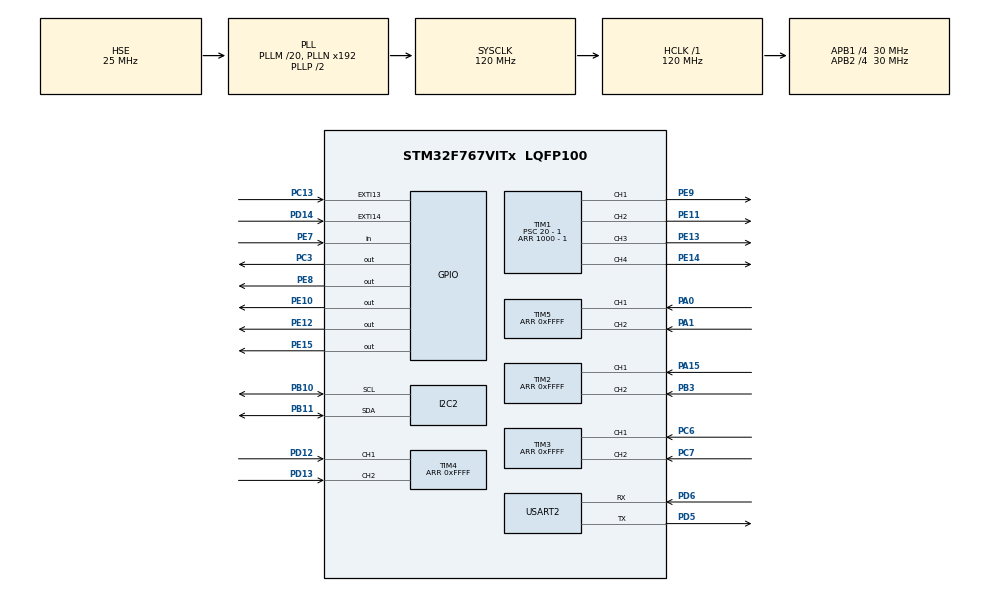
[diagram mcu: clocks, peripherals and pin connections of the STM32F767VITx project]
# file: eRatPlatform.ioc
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Dma.I2C2_RX.1.Direction=DMA_PERIPH_TO_MEMORY
Dma.I2C2_RX.1.FIFOMode=DMA_FIFOMODE_DISABLE
Dma.I2C2_RX.1.Instance=DMA1_Stream2
Dma.I2C2_RX.1.MemDataAlignment=DMA_MDATAALIGN_BYTE
Dma.I2C2_RX.1.MemInc=DMA_MINC_ENABLE
Dma.I2C2_RX.1.Mode=DMA_NORMAL
Dma.I2C2_RX.1.PeriphDataAlignment=DMA_PDATAALIGN_BYTE
Dma.I2C2_RX.1.PeriphInc=DMA_PINC_DISABLE
Dma.I2C2_RX.1.Priority=DMA_PRIORITY_MEDIUM
Dma.I2C2_TX.0.Direction=DMA_MEMORY_TO_PERIPH
Dma.I2C2_TX.0.FIFOMode=DMA_FIFOMODE_DISABLE
Dma.I2C2_TX.0.Instance=DMA1_Stream4
Dma.I2C2_TX.0.MemDataAlignment=DMA_MDATAALIGN_BYTE
Dma.I2C2_TX.0.MemInc=DMA_MINC_ENABLE
Dma.I2C2_TX.0.Mode=DMA_NORMAL
Dma.I2C2_TX.0.PeriphDataAlignment=DMA_PDATAALIGN_BYTE
Dma.I2C2_TX.0.PeriphInc=DMA_PINC_DISABLE
Dma.I2C2_TX.0.Priority=DMA_PRIORITY_HIGH
Dma.Request0=I2C2_TX
Dma.Request1=I2C2_RX
FREERTOS.Tasks01=defaultTask,0,128,StartDefaultTask,Default,NULL
I2C2.Timing=0x007074AF
Mcu.Family=STM32F7
Mcu.Name=STM32F767VITx
Mcu.Package=LQFP100
NVIC.DMA1_Stream2_IRQn=true\:5\:0\:false\:false\:true\:true\:false
NVIC.DMA1_Stream4_IRQn=true\:5\:0\:false\:false\:true\:true\:false
NVIC.EXTI15_10_IRQn=true\:0\:0\:false\:false\:true\:false\:true
NVIC.I2C2_ER_IRQn=true\:5\:0\:false\:false\:true\:true\:true
NVIC.I2C2_EV_IRQn=true\:5\:0\:false\:false\:true\:true\:true
NVIC.PriorityGroup=NVIC_PRIORITYGROUP_4
NVIC.TIM8_TRG_COM_TIM14_IRQn=true\:0\:0\:false\:false\:true\:false\:false
NVIC.TimeBase=TIM8_TRG_COM_TIM14_IRQn
NVIC.TimeBaseIP=TIM14
NVIC.USART2_IRQn=true\:5\:0\:false\:false\:true\:true\:true
PA0/WKUP.Signal=S_TIM5_CH1
PA1.Signal=S_TIM5_CH2
PA13.Mode=Serial_Wire
PA13.Signal=SYS_JTMS-SWDIO
PA14.Mode=Serial_Wire
PA14.Signal=SYS_JTCK-SWCLK
PA15.Signal=S_TIM2_CH1_ETR
PB10.Mode=I2C
PB10.Signal=I2C2_SCL
PB11.Mode=I2C
PB11.Signal=I2C2_SDA
PB3.Signal=S_TIM2_CH2
PC13.GPIO_ModeDefaultEXTI=GPIO_MODE_IT_RISING
PC13.Signal=GPXTI13
PC14/OSC32_IN.Mode=LSE-External-Oscillator
PC14/OSC32_IN.Signal=RCC_OSC32_IN
PC15/OSC32_OUT.Mode=LSE-External-Oscillator
PC15/OSC32_OUT.Signal=RCC_OSC32_OUT
PC3.Signal=GPIO_Output
PC6.Signal=S_TIM3_CH1
PC7.Signal=S_TIM3_CH2
PD12.Signal=S_TIM4_CH1
PD13.Signal=S_TIM4_CH2
PD14.Signal=GPXTI14
PD5.Mode=Asynchronous
PD5.Signal=USART2_TX
PD6.Mode=Asynchronous
PD6.Signal=USART2_RX
PE10.Signal=GPIO_Output
PE11.Signal=S_TIM1_CH2
PE12.Signal=GPIO_Output
PE13.Signal=S_TIM1_CH3
PE14.Signal=S_TIM1_CH4
PE15.Signal=GPIO_Output
PE7.Signal=GPIO_Input
PE8.Signal=GPIO_Output
PE9.Signal=S_TIM1_CH1
PH0/OSC_IN.Mode=HSE-External-Oscillator
PH0/OSC_IN.Signal=RCC_OSC_IN
PH1/OSC_OUT.Mode=HSE-External-Oscillator
PH1/OSC_OUT.Signal=RCC_OSC_OUT
ProjectManager.HeapSize=0x200
ProjectManager.StackSize=0x400
ProjectManager.TargetToolchain=SW4STM32
RCC.AHBFreq_Value=120000000
RCC.APB1CLKDivider=RCC_HCLK_DIV4
RCC.APB1Freq_Value=30000000
RCC.APB1TimFreq_Value=60000000
RCC.APB2CLKDivider=RCC_HCLK_DIV4
RCC.APB2Freq_Value=30000000
RCC.APB2TimFreq_Value=60000000
RCC.CortexFreq_Value=120000000
RCC.HCLKFreq_Value=120000000
RCC.HSE_VALUE=25000000
RCC.HSI_VALUE=16000000
RCC.PLLM=20
RCC.PLLQ=5
RCC.PLLSourceVirtual=RCC_PLLSOURCE_HSE
RCC.SYSCLKFreq_VALUE=120000000
RCC.SYSCLKSource=RCC_SYSCLKSOURCE_PLLCLK
RCC.USART2CLockSelection=RCC_USART2CLKSOURCE_SYSCLK
RCC.USBFreq_Value=48000000
RCC.VCOOutputFreq_Value=240000000
SH.S_TIM1_CH1.0=TIM1_CH1,PWM Generation1 CH1
SH.S_TIM1_CH2.0=TIM1_CH2,PWM Generation2 CH2
SH.S_TIM1_CH3.0=TIM1_CH3,PWM Generation3 CH3
SH.S_TIM1_CH4.0=TIM1_CH4,PWM Generation4 CH4
SH.S_TIM2_CH1_ETR.0=TIM2_CH1,Encoder_Interface
SH.S_TIM2_CH2.0=TIM2_CH2,Encoder_Interface
SH.S_TIM3_CH1.0=TIM3_CH1,Encoder_Interface
SH.S_TIM3_CH2.0=TIM3_CH2,Encoder_Interface
SH.S_TIM4_CH1.0=TIM4_CH1,Encoder_Interface
SH.S_TIM4_CH2.0=TIM4_CH2,Encoder_Interface
SH.S_TIM5_CH1.0=TIM5_CH1,Encoder_Interface
SH.S_TIM5_CH2.0=TIM5_CH2,Encoder_Interface
TIM1.Channel-PWM\ Generation1\ CH1=TIM_CHANNEL_1
TIM1.Channel-PWM\ Generation2\ CH2=TIM_CHANNEL_2
TIM1.Channel-PWM\ Generation3\ CH3=TIM_CHANNEL_3
TIM1.Channel-PWM\ Generation4\ CH4=TIM_CHANNEL_4
TIM1.Period=1000 - 1
TIM1.Prescaler=20 - 1
TIM2.IC1Filter=0x0F
TIM2.IC2Filter=0x0F
TIM2.Period=0xFFFF
TIM3.IC1Filter=0x0F
TIM3.IC2Filter=0x0F
TIM3.Period=0xFFFF
TIM4.IC1Filter=0x0F
TIM4.IC2Filter=0x0F
TIM4.Period=0xFFFF
TIM5.IC1Filter=0x0F
TIM5.IC2Filter=0x0F
TIM5.Period=0xFFFF
USART2.VirtualMode-Asynchronous=VM_ASYNC
VP_FREERTOS_VS_ENABLE.Mode=Enabled
VP_SYS_VS_tim14.Mode=TIM14
board=custom

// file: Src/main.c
/**
  ******************************************************************************
  * @file           : main.c
  * @brief          : Main program body
  ******************************************************************************
  * This notice applies to any and all portions of this file
  * that are not between comment pairs USER CODE BEGIN and
  * USER CODE END. Other portions of this file, whether
  * inserted by the user or by software development tools
  * are owned by their respective copyright owners.
  *
  * Copyright (c) 2018 STMicroelectronics International N.V.
  * All rights reserved.
  *
  * Redistribution and use in source and binary forms, with or without
  * modification, are permitted, provided that the following conditions are met:
  *
  * 1. Redistribution of source code must retain the above copyright notice,
  *    this list of conditions and the following disclaimer.
  * 2. Redistributions in binary form must reproduce the above copyright notice,
  *    this list of conditions and the following disclaimer in the documentation
  *    and/or other materials provided with the distribution.
  * 3. Neither the name of STMicroelectronics nor the names of other
  *    contributors to this software may be used to endorse or promote products
  *    derived from this software without specific written permission.
  * 4. This software, including modifications and/or derivative works of this
  *    software, must execute solely and exclusively on microcontroller or
  *    microprocessor devices manufactured by or for STMicroelectronics.
  * 5. Redistribution and use of this software other than as permitted under
  *    this license is void and will automatically terminate your rights under
  *    this license.
  *
  * THIS SOFTWARE IS PROVIDED BY STMICROELECTRONICS AND CONTRIBUTORS "AS IS"
  * AND ANY EXPRESS, IMPLIED OR STATUTORY WARRANTIES, INCLUDING, BUT NOT
  * LIMITED TO, THE IMPLIED WARRANTIES OF MERCHANTABILITY, FITNESS FOR A
  * PARTICULAR PURPOSE AND NON-INFRINGEMENT OF THIRD PARTY INTELLECTUAL PROPERTY
  * RIGHTS ARE DISCLAIMED TO THE FULLEST EXTENT PERMITTED BY LAW. IN NO EVENT
  * SHALL STMICROELECTRONICS OR CONTRIBUTORS BE LIABLE FOR ANY DIRECT, INDIRECT,
  * INCIDENTAL, SPECIAL, EXEMPLARY, OR CONSEQUENTIAL DAMAGES (INCLUDING, BUT NOT
  * LIMITED TO, PROCUREMENT OF SUBSTITUTE GOODS OR SERVICES; LOSS OF USE, DATA,
  * OR PROFITS; OR BUSINESS INTERRUPTION) HOWEVER CAUSED AND ON ANY THEORY OF
  * LIABILITY, WHETHER IN CONTRACT, STRICT LIABILITY, OR TORT (INCLUDING
  * NEGLIGENCE OR OTHERWISE) ARISING IN ANY WAY OUT OF THE USE OF THIS SOFTWARE,
  * EVEN IF ADVISED OF THE POSSIBILITY OF SUCH DAMAGE.
  *
  ******************************************************************************
  */
#include "main.h"
#include "stm32f7xx_hal.h"
#include "cmsis_os.h"
#include "dma.h"
#include "i2c.h"
#include "tim.h"
#include "usart.h"
#include "gpio.h"

/* USER CODE BEGIN Includes */
#include "Interface.h"
#include "WheelDriveSystem.h"
#include "WheelDrive.h"

/* USER CODE END Includes */

/* USER CODE BEGIN PV */
/* Private variables ---------------------------------------------------------*/
extern uint8_t user_button_1;

__IO ITStatus Uart2Ready = RESET;

extern UART_Comm_State uart2_comm_state;
extern uint8_t uart2_tx_buffer[];
extern uint8_t uart2_rx_buffer[];

__IO ITStatus I2C2Ready = RESET;

extern I2C_Comm_State i2c2_comm_state;
extern uint8_t i2c2_tx_buffer[];
extern uint8_t i2c2_rx_buffer[];

/* USER CODE END PV */

void SystemClock_Config(void);
void MX_FREERTOS_Init(void);

/* USER CODE BEGIN PFP */
/* Private function prototypes -----------------------------------------------*/

	static void CPU_CACHE_Enable(void);
/* USER CODE END PFP */

int main(void)
{
  /* USER CODE BEGIN 1 */
	/* Enable the CPU Cache */

  /* USER CODE END 1 */

  /* MCU Configuration----------------------------------------------------------*/

  /* Reset of all peripherals, Initializes the Flash interface and the Systick. */
  HAL_Init();

  /* USER CODE BEGIN Init */
  CPU_CACHE_Enable();
  /* USER CODE END Init */

  /* Configure the system clock */
  SystemClock_Config();

  /* Initialize all configured peripherals */
  MX_GPIO_Init();
  MX_DMA_Init();
  MX_TIM1_Init();
  MX_TIM2_Init();
  MX_TIM3_Init();
  MX_TIM4_Init();
  MX_TIM5_Init();
  MX_USART2_UART_Init();
  MX_I2C2_Init();
  /* USER CODE BEGIN 2 */

  user_button_1 = 0;

  	/* UART CONF BEGIN */
  	  uart2_comm_state = UART_STOP;
  	  memset(uart2_tx_buffer, 0, strlen(uart2_tx_buffer));
  	  memset(uart2_rx_buffer, 0, strlen(uart2_rx_buffer));
  	/* UART CONF END */

  	/* I2C CONF BEGIN */
  	  i2c2_comm_state = I2C_STOP;
  	  memset(i2c2_tx_buffer, 0, strlen(i2c2_tx_buffer));
	  memset(i2c2_rx_buffer, 0, strlen(i2c2_rx_buffer));
	/* I2C CONF END */

	/* WHEEL DRIVE CONF BEGIN */
	  	/* Initialize PWM for Wheel Drive*/
	  	//MX_TIM1_Init();

		/* Wheel Drive Front Left */
		HAL_TIM_PWM_Start(&htim1, TIM_CHANNEL_1);

		/*  Wheel Drive Rear Left */
		HAL_TIM_PWM_Start(&htim1, TIM_CHANNEL_2);

		/* Wheel Drive Front Right */
		HAL_TIM_PWM_Start(&htim1, TIM_CHANNEL_3);

		/* Wheel Drive Rear Right */
		HAL_TIM_PWM_Start(&htim1, TIM_CHANNEL_4);

		/* Initialize Encoder for Wheel Drive Front Left, Rear Left, Front Right, Rear Right*/
		//MX_TIM2_Init();
		HAL_TIM_Encoder_Start(&htim2, TIM_CHANNEL_1 | TIM_CHANNEL_2);

		/* Initialize Encoder for Wheel Drive Rear Left */
		//MX_TIM3_Init();
		HAL_TIM_Encoder_Start(&htim3, TIM_CHANNEL_1 | TIM_CHANNEL_2);

		/* Initialize Encoder for Wheel Drive Front Right */
		//MX_TIM4_Init();
		HAL_TIM_Encoder_Start(&htim4, TIM_CHANNEL_1 | TIM_CHANNEL_2);

		/* Initialize Encoder for Wheel Drive Rear Right */
		//MX_TIM5_Init();
		HAL_TIM_Encoder_Start(&htim5, TIM_CHANNEL_1 | TIM_CHANNEL_2);
	/* WHEEL DRIVE CONF END */

  /* USER CODE END 2 */

  /* Call init function for freertos objects (in freertos.c) */
  MX_FREERTOS_Init();

  /* Start scheduler */
  osKernelStart();

  /* We should never get here as control is now taken by the scheduler */

  /* Infinite loop */
  while (1)
  {

  }

}

void SystemClock_Config(void)
{

  RCC_OscInitTypeDef RCC_OscInitStruct;
  RCC_ClkInitTypeDef RCC_ClkInitStruct;
  RCC_PeriphCLKInitTypeDef PeriphClkInitStruct;

    /**Configure the main internal regulator output voltage
    */
  __HAL_RCC_PWR_CLK_ENABLE();

  __HAL_PWR_VOLTAGESCALING_CONFIG(PWR_REGULATOR_VOLTAGE_SCALE3);

    /**Initializes the CPU, AHB and APB busses clocks
    */
  RCC_OscInitStruct.OscillatorType = RCC_OSCILLATORTYPE_HSE;
  RCC_OscInitStruct.HSEState = RCC_HSE_ON;
  RCC_OscInitStruct.PLL.PLLState = RCC_PLL_ON;
  RCC_OscInitStruct.PLL.PLLSource = RCC_PLLSOURCE_HSE;
  RCC_OscInitStruct.PLL.PLLM = 20;
  RCC_OscInitStruct.PLL.PLLN = 192;
  RCC_OscInitStruct.PLL.PLLP = RCC_PLLP_DIV2;
  RCC_OscInitStruct.PLL.PLLQ = 5;
  if (HAL_RCC_OscConfig(&RCC_OscInitStruct) != HAL_OK)
  {
    _Error_Handler(__FILE__, __LINE__);
  }

    /**Initializes the CPU, AHB and APB busses clocks
    */
  RCC_ClkInitStruct.ClockType = RCC_CLOCKTYPE_HCLK|RCC_CLOCKTYPE_SYSCLK
                              |RCC_CLOCKTYPE_PCLK1|RCC_CLOCKTYPE_PCLK2;
  RCC_ClkInitStruct.SYSCLKSource = RCC_SYSCLKSOURCE_PLLCLK;
  RCC_ClkInitStruct.AHBCLKDivider = RCC_SYSCLK_DIV1;
  RCC_ClkInitStruct.APB1CLKDivider = RCC_HCLK_DIV4;
  RCC_ClkInitStruct.APB2CLKDivider = RCC_HCLK_DIV4;

  if (HAL_RCC_ClockConfig(&RCC_ClkInitStruct, FLASH_LATENCY_3) != HAL_OK)
  {
    _Error_Handler(__FILE__, __LINE__);
  }

  PeriphClkInitStruct.PeriphClockSelection = RCC_PERIPHCLK_USART2|RCC_PERIPHCLK_I2C2;
  PeriphClkInitStruct.Usart2ClockSelection = RCC_USART2CLKSOURCE_SYSCLK;
  PeriphClkInitStruct.I2c2ClockSelection = RCC_I2C2CLKSOURCE_PCLK1;
  if (HAL_RCCEx_PeriphCLKConfig(&PeriphClkInitStruct) != HAL_OK)
  {
    _Error_Handler(__FILE__, __LINE__);
  }

    /**Configure the Systick interrupt time
    */
  HAL_SYSTICK_Config(HAL_RCC_GetHCLKFreq()/1000);

    /**Configure the Systick
    */
  HAL_SYSTICK_CLKSourceConfig(SYSTICK_CLKSOURCE_HCLK);

  /* SysTick_IRQn interrupt configuration */
  HAL_NVIC_SetPriority(SysTick_IRQn, 15, 0);
}

/* USER CODE BEGIN 4 */

/**
  * @brief  CPU L1-Cache enable.
  * @param  None
  * @retval None
  */
static void CPU_CACHE_Enable(void)
{
  /* Enable I-Cache */
  SCB_EnableICache();

  /* Enable D-Cache */
  SCB_EnableDCache();
}

/**
  * @brief  Tx Transfer completed callback
  * @param  UartHandle: UART handle.
  * @note   This example shows a simple way to report end of IT Tx transfer, and
  *         you can add your own implementation.
  * @retval None
  */
void HAL_UART_TxCpltCallback(UART_HandleTypeDef *UartHandle)
{
  /* Set transmission flag: transfer complete */
  Uart2Ready = SET;

}

/**
  * @brief  Rx Transfer completed callback
  * @param  UartHandle: UART handle
  * @note   This example shows a simple way to report end of DMA Rx transfer, and
  *         you can add your own implementation.
  * @retval None
  */
void HAL_UART_RxCpltCallback(UART_HandleTypeDef *UartHandle)
{
  /* Set transmission flag: transfer complete */
  Uart2Ready = SET;

}

/**
  * @brief  UART error callbacks
  * @param  UartHandle: UART handle
  * @note   This example shows a simple way to report transfer error, and you can
  *         add your own implementation.
  * @retval None
  */
void HAL_UART_ErrorCallback(UART_HandleTypeDef *UartHandle)
{
    Error_Handler();
}

//void HAL_I2C_MasterTxCpltCallback(I2C_HandleTypeDef *I2cHandle)
//{
//  /* Toggle LED1: Transfer in transmission process is correct */
//  //BSP_LED_Toggle(LED1);
//}

void HAL_I2C_SlaveTxCpltCallback(I2C_HandleTypeDef *I2cHandle)
{
  /* Toggle LED1: Transfer in transmission process is correct */
  //BSP_LED_Toggle(LED1);
}

//void HAL_I2C_MasterRxCpltCallback(I2C_HandleTypeDef *I2cHandle)
//{
//  /* Toggle LED1: Transfer in reception process is correct */
//  //BSP_LED_Toggle(LED1);
//}

void HAL_I2C_SlaveRxCpltCallback(I2C_HandleTypeDef *I2cHandle)
{
  /* Toggle LED1: Transfer in reception process is correct */
  //BSP_LED_Toggle(LED1);
}

/**
  * @brief  I2C error callbacks.
  * @param  I2cHandle: I2C handle
  * @note   This example shows a simple way to report transfer error, and you can
  *         add your own implementation.
  * @retval None
  */
void HAL_I2C_ErrorCallback(I2C_HandleTypeDef *I2cHandle)
{
  /** Error_Handler() function is called when error occurs.
    * 1- When Slave don't acknowledge it's address, Master restarts communication.
    * 2- When Master don't acknowledge the last data transferred, Slave don't care in this example.
    */
  if (HAL_I2C_GetError(I2cHandle) != HAL_I2C_ERROR_AF)
  {
    Error_Handler();
  }
}

/* USER CODE END 4 */

void HAL_TIM_PeriodElapsedCallback(TIM_HandleTypeDef *htim)
{
  if (htim->Instance == TIM14) {
    HAL_IncTick();

    //HAL_I2C_Slave_Transmit_DMA(&hi2c2, (uint8_t*)aTxBuffer, TXBUFFERSIZE);
    //HAL_I2C_Master_Transmit_DMA(&hi2c2, (uint16_t)0x30F, (uint8_t*)aTxBuffer, TXBUFFERSIZE);

  }
}

void _Error_Handler(char *file, int line)
{
  while(1)
  {
  }
}

/************************ (C) COPYRIGHT STMicroelectronics *****END OF FILE****/

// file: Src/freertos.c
/**
  ******************************************************************************
  * File Name          : freertos.c
  * Description        : Code for freertos applications
  ******************************************************************************
  * This notice applies to any and all portions of this file
  * that are not between comment pairs USER CODE BEGIN and
  * USER CODE END. Other portions of this file, whether
  * inserted by the user or by software development tools
  * are owned by their respective copyright owners.
  *
  * Copyright (c) 2018 STMicroelectronics International N.V.
  * All rights reserved.
  *
  * Redistribution and use in source and binary forms, with or without
  * modification, are permitted, provided that the following conditions are met:
  *
  * 1. Redistribution of source code must retain the above copyright notice,
  *    this list of conditions and the following disclaimer.
  * 2. Redistributions in binary form must reproduce the above copyright notice,
  *    this list of conditions and the following disclaimer in the documentation
  *    and/or other materials provided with the distribution.
  * 3. Neither the name of STMicroelectronics nor the names of other
  *    contributors to this software may be used to endorse or promote products
  *    derived from this software without specific written permission.
  * 4. This software, including modifications and/or derivative works of this
  *    software, must execute solely and exclusively on microcontroller or
  *    microprocessor devices manufactured by or for STMicroelectronics.
  * 5. Redistribution and use of this software other than as permitted under
  *    this license is void and will automatically terminate your rights under
  *    this license.
  *
  * THIS SOFTWARE IS PROVIDED BY STMICROELECTRONICS AND CONTRIBUTORS "AS IS"
  * AND ANY EXPRESS, IMPLIED OR STATUTORY WARRANTIES, INCLUDING, BUT NOT
  * LIMITED TO, THE IMPLIED WARRANTIES OF MERCHANTABILITY, FITNESS FOR A
  * PARTICULAR PURPOSE AND NON-INFRINGEMENT OF THIRD PARTY INTELLECTUAL PROPERTY
  * RIGHTS ARE DISCLAIMED TO THE FULLEST EXTENT PERMITTED BY LAW. IN NO EVENT
  * SHALL STMICROELECTRONICS OR CONTRIBUTORS BE LIABLE FOR ANY DIRECT, INDIRECT,
  * INCIDENTAL, SPECIAL, EXEMPLARY, OR CONSEQUENTIAL DAMAGES (INCLUDING, BUT NOT
  * LIMITED TO, PROCUREMENT OF SUBSTITUTE GOODS OR SERVICES; LOSS OF USE, DATA,
  * OR PROFITS; OR BUSINESS INTERRUPTION) HOWEVER CAUSED AND ON ANY THEORY OF
  * LIABILITY, WHETHER IN CONTRACT, STRICT LIABILITY, OR TORT (INCLUDING
  * NEGLIGENCE OR OTHERWISE) ARISING IN ANY WAY OUT OF THE USE OF THIS SOFTWARE,
  * EVEN IF ADVISED OF THE POSSIBILITY OF SUCH DAMAGE.
  *
  ******************************************************************************
  */

#include "FreeRTOS.h"
#include "task.h"
#include "cmsis_os.h"

/* USER CODE BEGIN Includes */
#include "tim.h"
#include "Interface.h"
#include "WheelDriveSystem.h"
#include "WheelDrive.h"
#include "usart.h"
#include "i2c.h"
#include <string.h>

/* USER CODE END Includes */

osThreadId defaultTaskHandle;

/* USER CODE BEGIN Variables */

extern uint8_t user_button_1;

/* DRIVE BEGIN */
	osThreadId driveTestTaskHandle;

	extern int16_t encoderFL; //TIM2
	extern int16_t encoderRL; //TIM3
	extern int16_t encoderFR; //TIM4
	extern int16_t encoderRR; //TIM5
/* DRIVE END */

/* UART BEGIN */
	osThreadId uart2TaskHandle;
	osThreadId uart2TestTaskHandle;

	extern __IO ITStatus Uart2Ready;

	extern UART_Comm_State uart2_comm_state;
	extern uint8_t uart2_tx_buffer[];
	extern uint8_t uart2_rx_buffer[];
/* UART END */

/* I2C BEGIN */
	osThreadId i2c2TestTaskHandle;
	osThreadId i2c2TaskHandle;

	extern __IO ITStatus I2C2Ready;

	extern I2C_Comm_State i2c2_comm_state;
	extern uint8_t i2c2_tx_buffer[];
	extern uint8_t i2c2_rx_buffer[];
/* I2C END */

osThreadId menuTaskHandle;

/* USER CODE END Variables */

void StartDefaultTask(void const * argument);

void MX_FREERTOS_Init(void); /* (MISRA C 2004 rule 8.1) */

/* USER CODE BEGIN FunctionPrototypes */
void StartDriveTestTask(void const * argument);

void StartUart2Task(void const * argument);

void StartI2C2Task(void const * argument);

void StartUart2TestTask(void const * argument);

void StartI2C2TestTask(void const * argument);

void StartMenuTask(void const * argument);

/* USER CODE END FunctionPrototypes */

/* Hook prototypes */

/* Init FreeRTOS */

void MX_FREERTOS_Init(void) {

  /* Create the thread(s) */
  /* definition and creation of defaultTask */
  osThreadDef(defaultTask, StartDefaultTask, osPriorityNormal, 0, 128);
  defaultTaskHandle = osThreadCreate(osThread(defaultTask), NULL);
  vTaskSuspend(defaultTaskHandle);

  /* USER CODE BEGIN RTOS_THREADS */
  /* add threads, ... */

  if(PLATFORM_MODE == DRIVE_TEST){
	osThreadDef(driveTestTask, StartDriveTestTask, osPriorityNormal, 0, 128);
	driveTestTaskHandle = osThreadCreate(osThread(driveTestTask), NULL);
  }else if(PLATFORM_MODE == UART_SHIELD_TEST){
	osThreadDef(uart2TestTask, StartUart2TestTask, osPriorityNormal, 0, 128);
	uart2TestTaskHandle = osThreadCreate(osThread(uart2TestTask), NULL);
	uart2_comm_state = UART_START;
  }else if(PLATFORM_MODE == I2C_SHIELD_TEST){
	osThreadDef(i2c2TestTask, StartI2C2TestTask, osPriorityNormal, 0, 128);
	i2c2TestTaskHandle = osThreadCreate(osThread(i2c2TestTask), NULL);
	uart2_comm_state = I2C_START;
  }else if(PLATFORM_MODE == BASIC_DEBUG){
	  osThreadDef(menuTask, StartMenuTask, osPriorityNormal, 0, 128);
	  menuTaskHandle = osThreadCreate(osThread(menuTask), NULL);
  }

//  osThreadDef(uart2Task, StartUart2Task, osPriorityNormal, 0, 128);
//  uart2TaskHandle = osThreadCreate(osThread(uart2Task), NULL);
//  vTaskSuspend(uart2TaskHandle);
//
//  osThreadDef(i2c2Task, StartI2C2Task, osPriorityNormal, 0, 128);
//  i2c2TaskHandle = osThreadCreate(osThread(i2c2Task), NULL);
//  vTaskSuspend(i2c2TaskHandle);
//
//

  /* USER CODE END RTOS_THREADS */

}

/* StartDefaultTask function */
void StartDefaultTask(void const * argument)
{

  for(;;)
  {
    osDelay(1);
  }
}

/* USER CODE BEGIN Application */
void StartDriveTestTask(void const * argument)
{

  /* USER CODE BEGIN StartDefaultTask */
  /* Infinite loop */
	for(;;)
	  {
		  encoderFL = -TIM2->CNT;
		  encoderRL = -TIM3->CNT;
		  encoderFR = TIM4->CNT;
		  encoderRR = TIM5->CNT;

		  if(user_button_1 == 1){
	//		  HAL_GPIO_WritePin(GPIOE, GPIO_PIN_8, 1);
	//		  HAL_GPIO_WritePin(GPIOE, GPIO_PIN_10, 1);
	//		  HAL_GPIO_WritePin(GPIOE, GPIO_PIN_12, 0);
	//		  HAL_GPIO_WritePin(GPIOE, GPIO_PIN_15, 0);

			  //Forward driving Test
			  WheelDriveFrontLeft_Run(100);
			  WheelDriveRearLeft_Run(100);
			  WheelDriveFrontRight_Run(100);
			  WheelDriveRearRight_Run(100);

			  osDelay(100);
		  }else if(user_button_1 == 2){
			  //Reverse driving Test

			  WheelDriveFrontLeft_Run(-100);
			  WheelDriveRearLeft_Run(-100);
			  WheelDriveFrontRight_Run(-100);
			  WheelDriveRearRight_Run(-100);

			  osDelay(100);
		  }else if(user_button_1 == 3){
			  //Hard stop Test

			  WheelDriveFrontLeft_Run(0);
			  WheelDriveRearLeft_Run(0);
			  WheelDriveFrontRight_Run(0);
			  WheelDriveRearRight_Run(0);

			  uart2_comm_state = UART_START;

			  osDelay(100);
		  }else if(user_button_1 == -1 || user_button_1 == 4){
			  //Soft stop Test

			  WheelDriveFrontLeft_Run(-1);
			  WheelDriveRearLeft_Run(-1);
			  WheelDriveFrontRight_Run(-1);
			  WheelDriveRearRight_Run(-1);

			  uart2_comm_state = UART_STOP;

			  osDelay(100);
		  }

	    osDelay(1);
	  }
  /* USER CODE END StartDefaultTask */
}

void StartUart2Task(void const * argument){
	for(;;)
	{

		osDelay(100);
	}
}

void StartI2CTask(void const * argument){
	for(;;){

		osDelay(100);
	}
}

void StartUart2TestTask(void const * argument){
	uint8_t i=0;
	for(;;)
	{
		if(user_button_1 == 1){ //test receive
			uint8_t number = 5;
			sprintf((char*)uart2_tx_buffer, "\n\rTesting receive. \n\r\tEnter '%d' character word:\n\r\t", number);

			if(HAL_UART_Transmit_IT(&huart2, (uint8_t*)uart2_tx_buffer, strlen((char*)uart2_tx_buffer))!= HAL_OK)
			{
				Error_Handler();
			}

			while (Uart2Ready != SET)
			{
			}

			Uart2Ready = RESET;

			/* Put UART peripheral in reception process */
			if(HAL_UART_Receive_IT(&huart2, (uint8_t *)uart2_rx_buffer, number) != HAL_OK)
			{
				Error_Handler();
			}

			/*##-5- Wait for the end of the transfer ###################################*/
			while (Uart2Ready != SET)
			{
			}

			/* Reset transmission flag */
			Uart2Ready = RESET;

			sprintf((char*)uart2_tx_buffer, "\n\r\tYou have entered '%s'.\n\r", uart2_rx_buffer);

			if(HAL_UART_Transmit_IT(&huart2, (uint8_t*)uart2_tx_buffer, strlen((char*)uart2_tx_buffer))!= HAL_OK)
			{
				Error_Handler();
			}

			while (Uart2Ready != SET)
			{
			}

			Uart2Ready = RESET;

			user_button_1 = 2;
		}else if(user_button_1 == 2){ //test transmit
			if(i == 0){
				sprintf((char*)uart2_tx_buffer, "\rUART Transmit Test %s", "|");
				i++;
			}
			else if(i == 1){
				sprintf((char*)uart2_tx_buffer, "\rUART Transmit Test %s", "/");
				i++;
			}
			else if(i == 2){
				sprintf((char*)uart2_tx_buffer, "\rUART Transmit Test %s", "-");
				i++;
			}
			else if(i == 3){
				sprintf((char*)uart2_tx_buffer, "\rUART Transmit Test %s", "\\");
				i = 0;
			}

			if(HAL_UART_Transmit_IT(&huart2, (uint8_t*)uart2_tx_buffer, strlen((char*)uart2_tx_buffer))!= HAL_OK)
			{
				Error_Handler();
			}

			while (Uart2Ready != SET)
			{
			}

			Uart2Ready = RESET;
		} else if (user_button_1 != 0){
			sprintf((char*)uart2_tx_buffer, "\n\r");

			if(HAL_UART_Transmit_IT(&huart2, (uint8_t*)uart2_tx_buffer, strlen((char*)uart2_tx_buffer))!= HAL_OK)
			{
				Error_Handler();
			}

			while (Uart2Ready != SET)
			{
			}

			Uart2Ready = RESET;

			user_button_1 = 0;
		}

		osDelay(100);
	}
}

void StartI2C2TestTask(void const * argument){
	for(;;)
		{
			if(user_button_1 == 1){ //test receive
				sprintf((char*)i2c2_tx_buffer, "T2C Transmit Test '%d'", 200);
//				HAL_I2C_Slave_Transmit_DMA(&hi2c2, (uint8_t*)i2c2_tx_buffer, strlen((char*)i2c2_tx_buffer));
				HAL_I2C_Slave_Receive_DMA(&hi2c2, (uint8_t*)i2c2_tx_buffer, strlen((char*)i2c2_tx_buffer));

				//user_button_1 = 0;
			}else if(user_button_1 == 2){ //test transmit

				user_button_1 = 0;
			} else{

			}

			osDelay(100);
		}
}

void StartMenuTask(void const * argument){
	for(;;){

		osDelay(100);
	}
}

/* USER CODE END Application */

/************************ (C) COPYRIGHT STMicroelectronics *****END OF FILE****/
